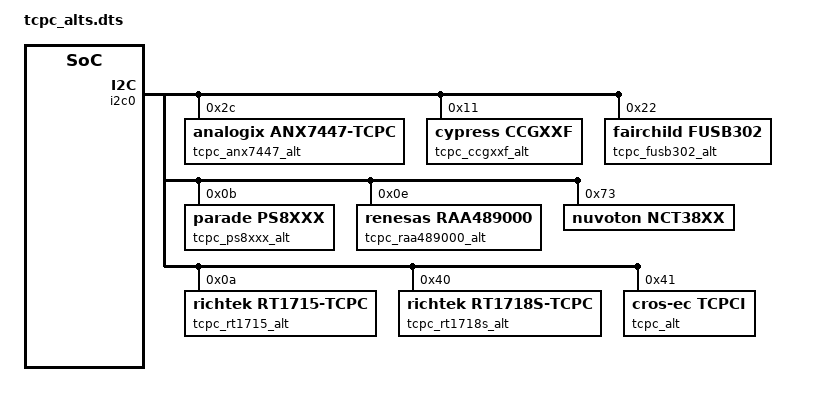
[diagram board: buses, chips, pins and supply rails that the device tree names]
/* Copyright 2023 The ChromiumOS Authors
 * Use of this source code is governed by a BSD-style license that can be
 * found in the LICENSE file.
 */

 /* Define nodes with the "is-alt" property set. Used by the TCPC shim
  * test to validate the runtime replacement of the TCPC driver.
  */

#include <dt-bindings/usb_pd_tcpm.h>

&i2c0 {
	#address-cells = <1>;
	#size-cells = <0>;
	status = "okay";

	tcpc_anx7447_alt: tcpc-anx7447-alt@2c {
		compatible = "analogix,anx7447-tcpc", "cros,i2c-mock";
		reg = <0x2c>;
		tcpc-flags = <(
			TCPC_FLAGS_TCPCI_REV2_0 |
			TCPC_FLAGS_VBUS_MONITOR)>;
		is-alt;
	};

	tcpc_ccgxxf_alt: tcpc-ccgxxf-alt@11 {
		compatible = "cypress,ccgxxf", "cros,i2c-mock";
		reg = <0x11>;
		is-alt;
	};

	tcpc_fusb302_alt: tcpc-fusb302-alt@22 {
		compatible = "fairchild,fusb302", "cros,i2c-mock";
		reg = <0x22>;
		is-alt;
	};

	tcpc_ps8xxx_alt: tcpc-ps8xxx-alt@b {
		compatible = "parade,ps8xxx", "cros,i2c-mock";
		reg = < 0xb >;
		tcpc-flags = < 0xd8 >;
		is-alt;
	};

	tcpc_raa489000_alt: tcpc-raa489000-alt@e {
		compatible = "renesas,raa489000", "cros,i2c-mock";
		reg = <0xe>;
		tcpc-flags = <(
			TCPC_FLAGS_TCPCI_REV2_0 |
			TCPC_FLAGS_VBUS_MONITOR)>;
		is-alt;
	};

	nct38xx@73 {
		compatible = "nuvoton,nct38xx";
		reg = <0x73>;

		tcpc_nct38xx_alt: nct38xx-tcpc {
			compatible = "nuvoton,nct38xx-tcpc";
			tcpc-flags = <(
				TCPC_FLAGS_TCPCI_REV2_0 |
				TCPC_FLAGS_NO_DEBUG_ACC_CONTROL)>;
			is-alt;
		};
	};

	tcpc_rt1715_alt: tcpc-rt1715-alt@a{
		compatible = "richtek,rt1715-tcpc", "cros,i2c-mock";
		reg = <0xa>;
		tcpc-flags = <(
			TCPC_FLAGS_TCPCI_REV2_0 |
			TCPC_FLAGS_VBUS_MONITOR)>;
		is-alt;
	};

	tcpc_rt1718s_alt: tcpc-rt1718s-alt@40 {
		compatible = "richtek,rt1718s-tcpc", "cros,i2c-mock";
		reg = <0x40>;
		tcpc-flags = <(
			TCPC_FLAGS_ALERT_OD |
			TCPC_FLAGS_CONTROL_VCONN |
			TCPC_FLAGS_CONTROL_FRS)>;
		is-alt;
	};

	tcpc_alt: tcpc-alt@41 {
		compatible = "cros-ec,tcpci", "cros,i2c-mock";
		reg = <0x41>;
		is-alt;
	};
};
